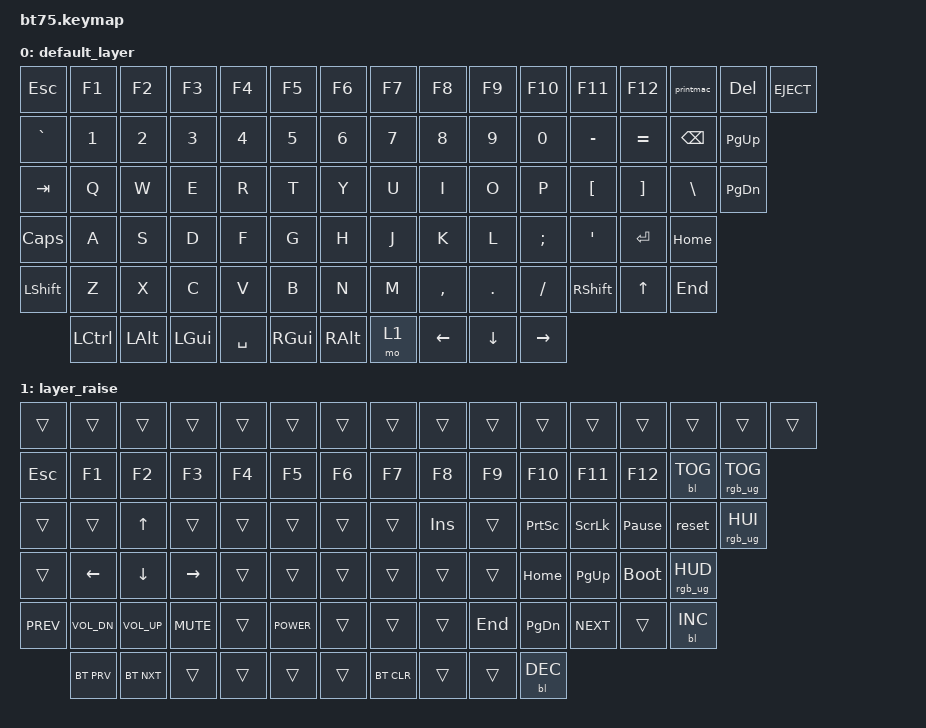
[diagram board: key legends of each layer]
/*
 * Copyright (c) 2020 The ZMK Contributors
 *
 * SPDX-License-Identifier: MIT
 */
/* THIS FILE WAS GENERATED!
 *
 * This file was generated automatically. You may or may not want to
 * edit it directly.
 */

#include <behaviors.dtsi>
#include <dt-bindings/zmk/keys.h>
#include <dt-bindings/zmk/backlight.h>
#include <dt-bindings/zmk/rgb.h>
#include <dt-bindings/zmk/bt.h>

/ {
    macros {
        printmac: printmac {
            compatible = "zmk,behavior-macro";
            label = "printmac";
            #binding-cells = <0>;
            bindings = <&kp LEFT_COMMAND &kp LEFT_SHIFT &kp N4>;
        };
    };

    keymap {
        compatible = "zmk,keymap";

        default_layer {
            bindings = <
   &kp ESC     &kp F1    &kp F2    &kp F3     &kp F4    &kp F5    &kp F6  &kp F7     &kp F8    &kp F9    &kp F10    &kp F11    &kp F12      &printmac    &kp DEL  &kp C_EJECT
 &kp GRAVE     &kp N1    &kp N2    &kp N3     &kp N4    &kp N5    &kp N6  &kp N7     &kp N8    &kp N9     &kp N0  &kp MINUS  &kp EQUAL  &kp BACKSPACE  &kp PG_UP
   &kp TAB      &kp Q     &kp W     &kp E      &kp R     &kp T     &kp Y   &kp U      &kp I     &kp O      &kp P   &kp LBKT   &kp RBKT       &kp BSLH  &kp PG_DN
  &kp CLCK      &kp A     &kp S     &kp D      &kp F     &kp G     &kp H   &kp J      &kp K     &kp L   &kp SEMI    &kp SQT    &kp RET       &kp HOME
 &kp LSHFT      &kp Z     &kp X     &kp C      &kp V     &kp B     &kp N   &kp M  &kp COMMA   &kp DOT   &kp FSLH  &kp RSHFT     &kp UP        &kp END
            &kp LCTRL  &kp LALT  &kp LGUI  &kp SPACE  &kp RGUI  &kp RALT   &mo 1   &kp LEFT  &kp DOWN  &kp RIGHT
            >;
        };

        layer_raise {
            bindings = <
     &trans        &trans        &trans      &trans  &trans       &trans  &trans      &trans   &trans   &trans      &trans      &trans           &trans           &trans           &trans  &trans
    &kp ESC        &kp F1        &kp F2      &kp F3  &kp F4       &kp F5  &kp F6      &kp F7   &kp F8   &kp F9     &kp F10     &kp F11          &kp F12       &bl BL_TOG  &rgb_ug RGB_TOG
     &trans        &trans        &kp UP      &trans  &trans       &trans  &trans      &trans  &kp INS   &trans   &kp PSCRN    &kp SLCK  &kp PAUSE_BREAK           &reset  &rgb_ug RGB_HUI
     &trans      &kp LEFT      &kp DOWN   &kp RIGHT  &trans       &trans  &trans      &trans   &trans   &trans    &kp HOME   &kp PG_UP      &bootloader  &rgb_ug RGB_HUD
 &kp C_PREV  &kp C_VOL_DN  &kp C_VOL_UP  &kp C_MUTE  &trans  &kp K_POWER  &trans      &trans   &trans  &kp END   &kp PG_DN  &kp C_NEXT           &trans       &bl BL_INC
               &bt BT_PRV    &bt BT_NXT      &trans  &trans       &trans  &trans  &bt BT_CLR   &trans   &trans  &bl BL_DEC
            >;
        };
    };
};
